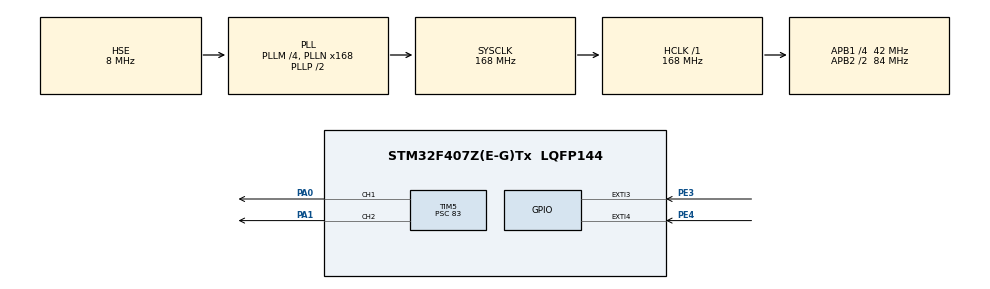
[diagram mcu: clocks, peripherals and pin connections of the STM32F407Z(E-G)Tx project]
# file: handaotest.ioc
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Mcu.Family=STM32F4
Mcu.Name=STM32F407Z(E-G)Tx
Mcu.Package=LQFP144
NVIC.EXTI3_IRQn=true\:0\:0\:false\:false\:true\:true\:true\:true
NVIC.EXTI4_IRQn=true\:0\:0\:false\:false\:true\:true\:true\:true
NVIC.PriorityGroup=NVIC_PRIORITYGROUP_4
PA0-WKUP.GPIO_PuPd=GPIO_PULLDOWN
PA0-WKUP.Signal=S_TIM5_CH1
PA1.GPIO_PuPd=GPIO_PULLDOWN
PA1.Signal=S_TIM5_CH2
PA13.Mode=Serial_Wire
PA13.Signal=SYS_JTMS-SWDIO
PA14.Mode=Serial_Wire
PA14.Signal=SYS_JTCK-SWCLK
PE3.GPIO_PuPd=GPIO_PULLUP
PE3.Signal=GPXTI3
PE4.GPIO_PuPd=GPIO_PULLUP
PE4.Signal=GPXTI4
PH0-OSC_IN.Mode=HSE-External-Oscillator
PH0-OSC_IN.Signal=RCC_OSC_IN
PH1-OSC_OUT.Mode=HSE-External-Oscillator
PH1-OSC_OUT.Signal=RCC_OSC_OUT
ProjectManager.HeapSize=0x200
ProjectManager.StackSize=0x400
ProjectManager.TargetToolchain=MDK-ARM V5.32
RCC.48MHZClocksFreq_Value=84000000
RCC.AHBFreq_Value=168000000
RCC.APB1CLKDivider=RCC_HCLK_DIV4
RCC.APB1Freq_Value=42000000
RCC.APB1TimFreq_Value=84000000
RCC.APB2CLKDivider=RCC_HCLK_DIV2
RCC.APB2Freq_Value=84000000
RCC.APB2TimFreq_Value=168000000
RCC.CortexFreq_Value=168000000
RCC.HCLKFreq_Value=168000000
RCC.HSE_VALUE=8000000
RCC.HSI_VALUE=16000000
RCC.LSE_VALUE=32768
RCC.PLLM=4
RCC.PLLN=168
RCC.PLLSourceVirtual=RCC_PLLSOURCE_HSE
RCC.SYSCLKFreq_VALUE=168000000
RCC.SYSCLKSource=RCC_SYSCLKSOURCE_PLLCLK
RCC.VCOOutputFreq_Value=336000000
SH.S_TIM5_CH1.0=TIM5_CH1,PWM Generation1 CH1
SH.S_TIM5_CH2.0=TIM5_CH2,PWM Generation2 CH2
TIM5.Channel-PWM\ Generation1\ CH1=TIM_CHANNEL_1
TIM5.Channel-PWM\ Generation2\ CH2=TIM_CHANNEL_2
TIM5.Period=19999
TIM5.Prescaler=83
board=custom

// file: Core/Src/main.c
/* USER CODE BEGIN Header */
/**
  ******************************************************************************
  * @file           : main.c
  * @brief          : Main program body
  ******************************************************************************
  * @attention
  *
  * Copyright (c) 2024 STMicroelectronics.
  * All rights reserved.
  *
  * This software is licensed under terms that can be found in the LICENSE file
  * in the root directory of this software component.
  * If no LICENSE file comes with this software, it is provided AS-IS.
  *
  ******************************************************************************
  */
/* USER CODE END Header */
#include "main.h"
#include "tim.h"
#include "gpio.h"

/* USER CODE BEGIN PM */
uint8_t KeyNum = 3;
uint32_t CurrentCompare;
/* USER CODE END PM */

void SystemClock_Config(void);

/* USER CODE BEGIN 0 */
float min(float a, float b)
{
    if (a > b)
    {
        return b;
    }
    else
    {
        return a;
    }
}

void Set_Accelerator(float percent)
{

  uint32_t TargetCompare = percent*10+500;
  if(TargetCompare > CurrentCompare)
  {
    CurrentCompare += min(10,TargetCompare-CurrentCompare);
  }
  else
  {
    CurrentCompare -= min(10,CurrentCompare-TargetCompare);
  }
}
/* USER CODE END 0 */

int main(void)
{

  /* MCU Configuration--------------------------------------------------------*/

  /* Reset of all peripherals, Initializes the Flash interface and the Systick. */
  HAL_Init();

  /* Configure the system clock */
  SystemClock_Config();

  /* Initialize all configured peripherals */
  MX_GPIO_Init();
  MX_TIM5_Init();
  /* USER CODE BEGIN 2 */
  HAL_TIM_PWM_Start(&htim5,TIM_CHANNEL_1);
  HAL_TIM_PWM_Start(&htim5,TIM_CHANNEL_2);

  /* USER CODE END 2 */

  /* Infinite loop */
  /* USER CODE BEGIN WHILE */
  // Set_Accelerator(100);
  // HAL_Delay(2000);
//  Set_Accelerator(0);
//  HAL_Delay(1000);
//	Set_Accelerator(10);
//		int16_t percentage = 0;

  while (1)
  {
		HAL_Delay(10);

    if(KeyNum == 0 )
    {
      Set_Accelerator(0);
    }
    if(KeyNum == 1 )
    {
      Set_Accelerator(0);
    }

    /* USER CODE END WHILE */

  }
}

void SystemClock_Config(void)
{
  RCC_OscInitTypeDef RCC_OscInitStruct = {0};
  RCC_ClkInitTypeDef RCC_ClkInitStruct = {0};

  /** Configure the main internal regulator output voltage
  */
  __HAL_RCC_PWR_CLK_ENABLE();
  __HAL_PWR_VOLTAGESCALING_CONFIG(PWR_REGULATOR_VOLTAGE_SCALE1);

  /** Initializes the RCC Oscillators according to the specified parameters
  * in the RCC_OscInitTypeDef structure.
  */
  RCC_OscInitStruct.OscillatorType = RCC_OSCILLATORTYPE_HSE;
  RCC_OscInitStruct.HSEState = RCC_HSE_ON;
  RCC_OscInitStruct.PLL.PLLState = RCC_PLL_ON;
  RCC_OscInitStruct.PLL.PLLSource = RCC_PLLSOURCE_HSE;
  RCC_OscInitStruct.PLL.PLLM = 4;
  RCC_OscInitStruct.PLL.PLLN = 168;
  RCC_OscInitStruct.PLL.PLLP = RCC_PLLP_DIV2;
  RCC_OscInitStruct.PLL.PLLQ = 4;
  if (HAL_RCC_OscConfig(&RCC_OscInitStruct) != HAL_OK)
  {
    Error_Handler();
  }

  /** Initializes the CPU, AHB and APB buses clocks
  */
  RCC_ClkInitStruct.ClockType = RCC_CLOCKTYPE_HCLK|RCC_CLOCKTYPE_SYSCLK
                              |RCC_CLOCKTYPE_PCLK1|RCC_CLOCKTYPE_PCLK2;
  RCC_ClkInitStruct.SYSCLKSource = RCC_SYSCLKSOURCE_PLLCLK;
  RCC_ClkInitStruct.AHBCLKDivider = RCC_SYSCLK_DIV1;
  RCC_ClkInitStruct.APB1CLKDivider = RCC_HCLK_DIV4;
  RCC_ClkInitStruct.APB2CLKDivider = RCC_HCLK_DIV2;

  if (HAL_RCC_ClockConfig(&RCC_ClkInitStruct, FLASH_LATENCY_5) != HAL_OK)
  {
    Error_Handler();
  }
}

/* USER CODE BEGIN 4 */
void HAL_GPIO_EXTI_Callback(uint16_t GPIO_Pin)
{
  if(GPIO_Pin == GPIO_PIN_3)//KEY1
  {
    KeyNum = 1;
  }
  if(GPIO_Pin == GPIO_PIN_4)//KEY0
  {
    KeyNum = 0;
  }
}

/* USER CODE END 4 */

void Error_Handler(void)
{
  __disable_irq();
  while (1)
  {
  }
}
